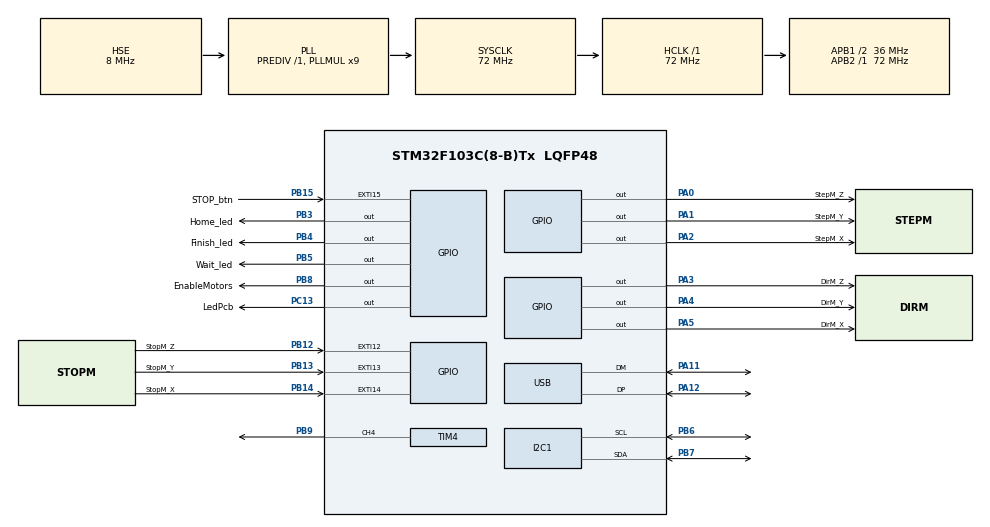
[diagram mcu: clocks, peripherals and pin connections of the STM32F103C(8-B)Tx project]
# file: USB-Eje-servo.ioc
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Mcu.Family=STM32F1
Mcu.Name=STM32F103C(8-B)Tx
Mcu.Package=LQFP48
NVIC.EXTI15_10_IRQn=true\:0\:0\:false\:false\:true\:true\:true\:true
NVIC.PriorityGroup=NVIC_PRIORITYGROUP_4
NVIC.TIM2_IRQn=true\:0\:0\:false\:false\:true\:true\:true\:true
NVIC.TIM3_IRQn=true\:0\:0\:false\:false\:true\:true\:true\:true
NVIC.USB_LP_CAN1_RX0_IRQn=true\:0\:0\:false\:false\:true\:false\:true\:true
PA0-WKUP.GPIO_Label=StepM_Z
PA0-WKUP.Signal=GPIO_Output
PA1.GPIO_Label=StepM_Y
PA1.Signal=GPIO_Output
PA11.Mode=Device
PA11.Signal=USB_DM
PA12.Mode=Device
PA12.Signal=USB_DP
PA13.Mode=Serial_Wire
PA13.Signal=SYS_JTMS-SWDIO
PA14.Mode=Serial_Wire
PA14.Signal=SYS_JTCK-SWCLK
PA2.GPIO_Label=StepM_X
PA2.Signal=GPIO_Output
PA3.GPIO_Label=DirM_Z
PA3.Signal=GPIO_Output
PA4.GPIO_Label=DirM_Y
PA4.Signal=GPIO_Output
PA5.GPIO_Label=DirM_X
PA5.Signal=GPIO_Output
PB12.GPIO_Label=StopM_Z
PB12.Signal=GPXTI12
PB13.GPIO_Label=StopM_Y
PB13.Signal=GPXTI13
PB14.GPIO_Label=StopM_X
PB14.Signal=GPXTI14
PB15.GPIO_Label=STOP_btn
PB15.Signal=GPXTI15
PB3.GPIO_Label=Home_led
PB3.Signal=GPIO_Output
PB4.GPIO_Label=Finish_led
PB4.Signal=GPIO_Output
PB5.GPIO_Label=Wait_led
PB5.Signal=GPIO_Output
PB6.Mode=I2C
PB6.Signal=I2C1_SCL
PB7.Mode=I2C
PB7.Signal=I2C1_SDA
PB8.GPIO_Label=EnableMotors
PB8.Signal=GPIO_Output
PB9.Signal=S_TIM4_CH4
PC13-TAMPER-RTC.GPIO_Label=LedPcb
PC13-TAMPER-RTC.Signal=GPIO_Output
PC14-OSC32_IN.Mode=LSE-External-Oscillator
PC14-OSC32_IN.Signal=RCC_OSC32_IN
PC15-OSC32_OUT.Mode=LSE-External-Oscillator
PC15-OSC32_OUT.Signal=RCC_OSC32_OUT
PD0-OSC_IN.Mode=HSE-External-Oscillator
PD0-OSC_IN.Signal=RCC_OSC_IN
PD1-OSC_OUT.Mode=HSE-External-Oscillator
PD1-OSC_OUT.Signal=RCC_OSC_OUT
ProjectManager.HeapSize=0x200
ProjectManager.StackSize=0x400
ProjectManager.TargetToolchain=STM32CubeIDE
RCC.AHBFreq_Value=72000000
RCC.APB1CLKDivider=RCC_HCLK_DIV2
RCC.APB1Freq_Value=36000000
RCC.APB1TimFreq_Value=72000000
RCC.APB2Freq_Value=72000000
RCC.APB2TimFreq_Value=72000000
RCC.HCLKFreq_Value=72000000
RCC.PLLMUL=RCC_PLL_MUL9
RCC.SYSCLKFreq_VALUE=72000000
RCC.SYSCLKSource=RCC_SYSCLKSOURCE_PLLCLK
RCC.USBFreq_Value=48000000
RCC.USBPrescaler=RCC_USBCLKSOURCE_PLL_DIV1_5
SH.S_TIM4_CH4.0=TIM4_CH4,PWM Generation4 CH4
TIM2.Period=1000
TIM2.Prescaler=71
TIM3.Period=9999
TIM3.Prescaler=7199
TIM4.Channel-PWM\ Generation4\ CH4=TIM_CHANNEL_4
TIM4.Period=19999
TIM4.Prescaler=71
USB_DEVICE.CLASS_NAME_FS=CDC
USB_DEVICE.PRODUCT_STRING_CDC_FS=STM32 Virtual Port
USB_DEVICE.VirtualMode=Cdc
USB_DEVICE.VirtualModeFS=Cdc_FS
VP_TIM2_VS_ClockSourceINT.Mode=Internal
VP_TIM3_VS_ClockSourceINT.Mode=Internal
VP_TIM4_VS_ClockSourceINT.Mode=Internal
VP_USB_DEVICE_VS_USB_DEVICE_CDC_FS.Mode=CDC_FS
board=custom

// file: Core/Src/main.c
/* USER CODE BEGIN Header */
/**
  ******************************************************************************
  * @file           : main.c
  * @brief          : Main program body
  ******************************************************************************
  * @attention
  *
  * Copyright (c) 2023 STMicroelectronics.
  * All rights reserved.
  *
  * This software is licensed under terms that can be found in the LICENSE file
  * in the root directory of this software component.
  * If no LICENSE file comes with this software, it is provided AS-IS.
  *
  ******************************************************************************
  */
/* USER CODE END Header */
#include "main.h"
#include "i2c.h"
#include "tim.h"
#include "usb_device.h"
#include "gpio.h"

/* USER CODE BEGIN PTD */

// Motor's Struct
typedef struct {
    GPIO_TypeDef *stepPort;     // Puerto GPIO para el pin de paso (step)
    uint16_t stepPin;           // Número del pin de paso (step)
    GPIO_TypeDef *dirPort;      // Puerto GPIO para el pin de dirección (dir)
    uint16_t dirPin;            // Número del pin de dirección (dir)
    int direction;              // Dirección de movimiento (0 para positivo, 1 para negativo)
    int velocity;               // Velocidad del motor
    int microStepping;          // Configuración de microstepping
    int currentPosition;        // Posición actual del motor
    int newPosition;        	// Nueva posición del motor
    int stepCounter;            // Contador de pasos para controlar el intervalo
    int stepInterval;           // Intervalo entre pasos para controlar la velocidad
    int stopFlag;               // Bandera para detener el movimiento (0 para habilitar, 1 para detener)
} StepperMotor;

/* USER CODE END PTD */

/* USER CODE BEGIN PV */

extern USBD_HandleTypeDef hUsbDeviceFS;
//	Cantidad de grados de libertad sin deflector final
StepperMotor motors[NUM_MOTORS];

//	Estado del deflector final
uint8_t estadoGarra = 0;

//	Vel Motors
uint16_t velMotor_X = 0;
uint16_t velMotor_Y = 0;
uint16_t velMotor_Z = 0;

//	Dir Motors
uint8_t DirM_X = 0;
uint8_t DirM_Y = 0;
uint8_t DirM_Z = 0;

// PROBAR DE CAMBIAR LOS PUNTEROS POR VALORES
//	FLAGS STOP GLOBALES
uint8_t flagStopM_X = 0;
uint8_t flagStopM_Y = 0;
uint8_t flagStopM_Z = 0;

//	FLAGS OPTICAL LIMIT SWITCH SENSOR PER AXIS GLOBALES
uint8_t opticalLimitSwitchSensor_X = 0;
uint8_t opticalLimitSwitchSensor_Y = 0;
uint8_t opticalLimitSwitchSensor_Z = 0;

///// Factor de microStepping
uint8_t microSteppingM_X = 1;
uint8_t microSteppingM_Y = 1;
uint8_t microSteppingM_Z = 1;

///// Flags de Homing
uint8_t homeMotor_X = 0;
uint8_t homeMotor_Y = 0;
uint8_t homeMotor_Z = 0;
int countHome = 0;
int homeStatus = 0;

//	Cotador de segundos para el homming
uint8_t contSeconds = 0;

// Data to transmit CDC
char * data = "Hello World!";
uint8_t flagUsb = 0;
char buffer_rx[40];
char buffer_tx[40];
char buffer_data[4][6];
/*Buffer data
 * actualizar valores
 * [0] : valores generales
 * [1] : valor de Q1
 * [2] : valor de Q2
 * [3] : valor de Q3
 */

//	LCD consts
uint8_t contador = 0;
char buf_lcd[18];

/* USER CODE END PV */

void SystemClock_Config(void);
/* USER CODE BEGIN PFP */

int HomingMotors(uint8_t* hmX, uint8_t* hmY, uint8_t* hmZ);		// Función para realizar el Homming del robot
//	Recive cómo parametros los puntores a memoria de los distintos grados de libertad
void ActivatedAll (int habilitar);								// Función para activar todos los motores
float deg2rad(float degrees);		//	Función para pasar de grados a radianes

//extern CircularBuffer<uint8_t> usbBuffer;
//extern USBD_HandleTypeDef hUsbDeviceFS;
void CDC_FS_Substring(uint8_t inicioCadena, uint8_t finCadena, char* str, char* dst);

// Función para configurar el intervalo de paso en función de la velocidad del motor
void moveMotors(StepperMotor *motor, int * newPosition, int * velocity);
int targetComplete(StepperMotor *motor);

//	Función para mover el servo
void Servo_Write_angle(uint16_t theta);

// Funciones para los 3 modos de operacion
uint8_t modoCalibracion();
uint8_t modoAprendizaje();
uint8_t modoEjecucion();
void consignas();

/* USER CODE END PFP */

int main(void)
{

  /* MCU Configuration--------------------------------------------------------*/

  /* Reset of all peripherals, Initializes the Flash interface and the Systick. */
  HAL_Init();

  /* Configure the system clock */
  SystemClock_Config();

  /* Initialize all configured peripherals */
  MX_GPIO_Init();
  MX_TIM2_Init();
  MX_USB_DEVICE_Init();
  MX_TIM4_Init();
  MX_TIM3_Init();
  MX_I2C1_Init();
  /* USER CODE BEGIN 2 */

  // Apartado para inicializar el LCD
  Lcd_Init();

  ///// Seteo los leds de estado
  HAL_GPIO_WritePin(Wait_led_GPIO_Port, Wait_led_Pin, RESET);
  HAL_GPIO_WritePin(Finish_led_GPIO_Port, Finish_led_Pin, RESET);
  HAL_GPIO_WritePin(Home_led_GPIO_Port, Home_led_Pin, RESET);

  ///// Configurar el bus Enable
  HAL_GPIO_WritePin(EnableMotors_GPIO_Port, EnableMotors_Pin, SET);

  // Inicialización de cada motor
  motors[0] = (StepperMotor){
	  StepM_X_GPIO_Port, StepM_X_Pin,
	  DirM_X_GPIO_Port, DirM_X_Pin, DirM_X,
	  velMotor_X,
	  microSteppingM_X,
	  0, 0, 0, 0,
	  flagStopM_X
  };
  motors[1] = (StepperMotor){
	  StepM_Y_GPIO_Port, StepM_Y_Pin,
	  DirM_Y_GPIO_Port, DirM_Y_Pin, DirM_Y,
	  velMotor_Y,
	  microSteppingM_Y,
	  0, 0, 0, 0,
	  flagStopM_Y
  };
  motors[2] = (StepperMotor){
	  StepM_Z_GPIO_Port, StepM_Z_Pin,
	  DirM_Z_GPIO_Port, DirM_Z_Pin, DirM_Z,
	  velMotor_Z,
	  microSteppingM_Z,
	  0, 0, 0, 0,
	  flagStopM_Z
  };

  HAL_TIM_Base_Start_IT(&htim2);			// Iniciar el temporizador con interrupción
  HAL_TIM_PWM_Start(&htim4, TIM_CHANNEL_4);
  HAL_TIM_Base_Start_IT(&htim4);			// Iniciar el temporizador con interrupción
  HAL_TIM_Base_Start_IT(&htim3);

  // Envio datos al puerto USB
  CDC_Transmit_FS((uint8_t *) data, strlen (data));

  // Ejemplo de impresión en el LCD
  Lcd_Clear();
  Lcd_Set_Cursor(1,1);
  Lcd_Send_String("La Gaaarra!");
  Lcd_Set_Cursor(2,1);
  Lcd_Send_String("By: Mario uwu");
  Lcd_Set_Cursor(2,14);
  Lcd_Blink();
  HAL_Delay(2000);
  /* USER CODE END 2 */

  /* Infinite loop */
  /* USER CODE BEGIN WHILE */
  while (1)
  {
	  if(flagUsb == 1){
		  HAL_GPIO_TogglePin(LedPcb_GPIO_Port, LedPcb_Pin);
		  //CDC_FS_Substring(1, 1, buffer_rx, buffer_data[0]);
		  //	:- Caso Homming
		  if (buffer_rx[0] == ':'){
			  switch (buffer_rx[1]){
			  	  case '-':
			  		  // Modo calibración
					  sprintf(buffer_tx, "Se ingresó al modo de Calibración\r\n");
					  CDC_Transmit_FS((uint8_t*)buffer_tx, strlen(buffer_tx));
					  if (modoCalibracion() == 0){
						  // No hubo problemas
					  } else {
						  // Existió problemas al ejecutar modoCalibracion
					  }
			  		  break;
			  	  case '+':
			  		  // Modo de aprendizaje
					  sprintf(buffer_tx, "Se ingresó al modo de Aprendizaje\r\n");
					  CDC_Transmit_FS((uint8_t*)buffer_tx, strlen(buffer_tx));
					  if (modoAprendizaje() == 0){
						  // No hubo problemas
					  } else {
						  // Existió problemas al ejecutar modoAprendizaje
					  }
			  		  break;
			  	  case '#':
			  		  // Modo de ejecución manual
					  sprintf(buffer_tx, "Se ingresó al modo de Ejecución\r\n");
					  CDC_Transmit_FS((uint8_t*)buffer_tx, strlen(buffer_tx));
					  if (modoEjecucion() == 0){
						  // No hubo problemas
					  } else {
						  // Existió problemas al ejecutar modoEjecucion
					  }
			  		  break;
			  	  case '?':
			  		  // Modo de ejecución manual
					  sprintf(buffer_tx, "Se mostrará la ayuda de las consignas del robot.\r\n");
					  CDC_Transmit_FS((uint8_t*)buffer_tx, strlen(buffer_tx));
					  consignas();
			  		  break;
			  	  default:
			  		  // Mostrar mensajes de error
			  		  //	trama no reconocida
					  sprintf(buffer_tx, "No existe el modo solicitado\r\n");
					  CDC_Transmit_FS((uint8_t*)buffer_tx, strlen(buffer_tx));
			  		  break;
			  }
		  } else if (buffer_rx[0] == '?'){
	  		  // Modo de ejecución manual
			  sprintf(buffer_tx, "Se mostrará la ayuda de las consignas del robot.\r\n");
			  CDC_Transmit_FS((uint8_t*)buffer_tx, strlen(buffer_tx));
			  consignas();
		  } else {
			  // Error en trama, trama no reconocida
			  sprintf(buffer_tx, "Trama ingresada erronea!\r\n");
			  CDC_Transmit_FS((uint8_t*)buffer_tx, strlen(buffer_tx));
		  }
		  flagUsb = 0;	// bajo la bandera de comunicación por USB

	  }
	  // Sin bandera de usb detectada
	  else {
		  if (countHome == 0){
			  Lcd_Set_Cursor(1,1);
			  Lcd_Send_String("Estado Global");
			  Lcd_Set_Cursor(2,1);
			  Lcd_Send_String("X???|Y???|Z???|?");
			  sprintf(buffer_tx, "Estado no definido\r\n");
			  CDC_Transmit_FS((uint8_t*)buffer_tx, strlen(buffer_tx));

			  HAL_GPIO_WritePin(Wait_led_GPIO_Port, Wait_led_Pin, RESET);
			  HAL_GPIO_WritePin(Finish_led_GPIO_Port, Finish_led_Pin, RESET);
			  HAL_Delay(325);
			  HAL_GPIO_TogglePin(Home_led_GPIO_Port, Home_led_Pin);
			  HAL_Delay(325);
			  HAL_GPIO_TogglePin(Home_led_GPIO_Port, Home_led_Pin);
		  }
		  //	Caso de que el Home se haya realizado
		  else {
			  sprintf(buffer_tx, "Estado definido\r\n");
			  //	MOVER MOTORES
			  for (int k = 0; k < NUM_MOTORS; ++k) {
				  moveMotors(&motors[k], &motors[k].newPosition, &motors[k].velocity);
			  }
			  CDC_Transmit_FS((uint8_t*)buffer_tx, strlen(buffer_tx));
			  //	Actualizar LCD con datos
			  char posicionMotores[16];
			  char charGarra = '?';
			  if (estadoGarra == 0){
				  charGarra = 'C';
			  } else if (estadoGarra == 1){
				  charGarra = 'A';
			  }
			  char* position[3][4];
			  for (int i = 0; i < NUM_MOTORS; ++i) {
				  for (int j = 0; j < NUM_MOTORS; ++j) {
					  position[i][j] = '\0';
				  }
			  }
			  for (int j = 0; j < NUM_MOTORS; ++j) {
				  if (motors[j].currentPosition < 10){
					  //Agrego dos 0
					  sprintf(*position[j], "00%u", motors[j].currentPosition);
				  } else if (motors[j].currentPosition < 100){
					  //Agrego 1 cero
					  sprintf(*position[j], "0%u", motors[j].currentPosition);
				  } else {
					  //No agrego 0
					  sprintf(*position[j], "%u", motors[j].currentPosition);
				  }
			  }
			  sprintf(posicionMotores, "X%s|Y%s|Z%s|%c", position[0], position[1], position[2], charGarra);
			  Lcd_Set_Cursor(2, 1);
			  Lcd_Send_String(posicionMotores);
			  HAL_Delay(750);
			  //	Dejo visualizador de que la tarea ha terminado
			  HAL_GPIO_WritePin(Finish_led_GPIO_Port, Finish_led_Pin, SET);
		  }

		  //	Avisar por medio del led del HOME de que ha ocurrido un error en alguno de los ejes
		  if (homeStatus < 0 ){
			  HAL_Delay(325);
			  HAL_GPIO_TogglePin(Home_led_GPIO_Port, Home_led_Pin);
			  HAL_Delay(325);
			  HAL_GPIO_TogglePin(Home_led_GPIO_Port, Home_led_Pin);
		  }
	  }

    /* USER CODE END WHILE */

  }
}

void SystemClock_Config(void)
{
  RCC_OscInitTypeDef RCC_OscInitStruct = {0};
  RCC_ClkInitTypeDef RCC_ClkInitStruct = {0};
  RCC_PeriphCLKInitTypeDef PeriphClkInit = {0};

  /** Initializes the RCC Oscillators according to the specified parameters
  * in the RCC_OscInitTypeDef structure.
  */
  RCC_OscInitStruct.OscillatorType = RCC_OSCILLATORTYPE_HSE;
  RCC_OscInitStruct.HSEState = RCC_HSE_ON;
  RCC_OscInitStruct.HSEPredivValue = RCC_HSE_PREDIV_DIV1;
  RCC_OscInitStruct.HSIState = RCC_HSI_ON;
  RCC_OscInitStruct.PLL.PLLState = RCC_PLL_ON;
  RCC_OscInitStruct.PLL.PLLSource = RCC_PLLSOURCE_HSE;
  RCC_OscInitStruct.PLL.PLLMUL = RCC_PLL_MUL9;
  if (HAL_RCC_OscConfig(&RCC_OscInitStruct) != HAL_OK)
  {
    Error_Handler();
  }

  /** Initializes the CPU, AHB and APB buses clocks
  */
  RCC_ClkInitStruct.ClockType = RCC_CLOCKTYPE_HCLK|RCC_CLOCKTYPE_SYSCLK
                              |RCC_CLOCKTYPE_PCLK1|RCC_CLOCKTYPE_PCLK2;
  RCC_ClkInitStruct.SYSCLKSource = RCC_SYSCLKSOURCE_PLLCLK;
  RCC_ClkInitStruct.AHBCLKDivider = RCC_SYSCLK_DIV1;
  RCC_ClkInitStruct.APB1CLKDivider = RCC_HCLK_DIV2;
  RCC_ClkInitStruct.APB2CLKDivider = RCC_HCLK_DIV1;

  if (HAL_RCC_ClockConfig(&RCC_ClkInitStruct, FLASH_LATENCY_2) != HAL_OK)
  {
    Error_Handler();
  }
  PeriphClkInit.PeriphClockSelection = RCC_PERIPHCLK_USB;
  PeriphClkInit.UsbClockSelection = RCC_USBCLKSOURCE_PLL_DIV1_5;
  if (HAL_RCCEx_PeriphCLKConfig(&PeriphClkInit) != HAL_OK)
  {
    Error_Handler();
  }
}

/* USER CODE BEGIN 4 */

// esto son 40 # y 40 .
// ###########################################################
// ........................................................
void consignas(){
	//	FUNCIÓN TIPO MENÚ PARA VISUALIZAR LAS DISTINTAS CONSIGNAS
	sprintf(buffer_tx, "Existen 3 modos de comportamiento para el robot\r\n");
	CDC_Transmit_FS((uint8_t*)buffer_tx, strlen(buffer_tx));
	sprintf(buffer_tx, "CALIBRACIÓN (-), APRENDIZAJE (+) y EJECUCIÓN (#)\r\n");
	CDC_Transmit_FS((uint8_t*)buffer_tx, strlen(buffer_tx));

}

uint8_t modoCalibracion(){
	  //	CASO DE HOMMING
	  if (buffer_rx[0] == 'H'){
		  HAL_GPIO_WritePin(Wait_led_GPIO_Port, Wait_led_Pin, SET);
		  HAL_GPIO_WritePin(Finish_led_GPIO_Port, Finish_led_Pin, RESET);
		  Lcd_Clear();
		  Lcd_Set_Cursor(1,1);
		  Lcd_Send_String("Start Homming");
		  Lcd_Set_Cursor(2,1);
		  Lcd_Send_String("Calibration mode");
		  HAL_Delay(150);
		  Servo_Write_angle(0);
		  estadoGarra = 0;
		  homeStatus = HomingMotors(&homeMotor_X, &homeMotor_Y, &homeMotor_Z);
		  if (homeStatus == 0){
			  // notifico al ordenador de los resultados del proceso
			  sprintf(buffer_tx, "Home Status: %u\nHome exitoso!\r\n", homeStatus);
			  CDC_Transmit_FS((uint8_t*)buffer_tx, strlen(buffer_tx));
			  Lcd_Clear();
			  Lcd_Set_Cursor(1,1);
			  Lcd_Send_String("Home Status: OK");
			  Lcd_Set_Cursor(2,1);
			  Lcd_Send_String("X000|Y000|Z000|C");
			  HAL_Delay(150);
			  HAL_GPIO_WritePin(Home_led_GPIO_Port, Home_led_Pin, SET);
		  } else if (homeStatus == -1){
			  // notifico al ordenador de los resultados del proceso
			  sprintf(buffer_tx, "Home Status: %u\nFalla Home X!\r\n", homeStatus);
			  CDC_Transmit_FS((uint8_t*)buffer_tx, strlen(buffer_tx));
			  Lcd_Clear();
			  Lcd_Set_Cursor(1,1);
			  Lcd_Send_String("Home Error: ejeX");
			  Lcd_Set_Cursor(2,1);
			  Lcd_Send_String("X???|Y000|Z000|C");
			  HAL_Delay(150);
		  } else if (homeStatus == -2){
			  // notifico al ordenador de los resultados del proceso
			  sprintf(buffer_tx, "Home Status: %u\nFalla Home Y!\r\n", homeStatus);
			  CDC_Transmit_FS((uint8_t*)buffer_tx, strlen(buffer_tx));
			  Lcd_Clear();
			  Lcd_Set_Cursor(1,1);
			  Lcd_Send_String("Home Error: ejeX");
			  Lcd_Set_Cursor(2,1);
			  Lcd_Send_String("X000|Y???|Z000|C");
			  HAL_Delay(150);
		  } else if (homeStatus == -3){
			  // notifico al ordenador de los resultados del proceso
			  sprintf(buffer_tx, "Home Status: %u\nFalla Home Z!\r\n", homeStatus);
			  CDC_Transmit_FS((uint8_t*)buffer_tx, strlen(buffer_tx));
			  Lcd_Clear();
			  Lcd_Set_Cursor(1,1);
			  Lcd_Send_String("Home Error: ejeX");
			  Lcd_Set_Cursor(2,1);
			  Lcd_Send_String("X000|Y000|Z???|C");
			  HAL_Delay(150);
		  } else if (homeStatus == 1){
			  // notifico al ordenador de los resultados del proceso
			  sprintf(buffer_tx, "Home Status: %u\nFalla en funcHome!\r\n", homeStatus);
			  CDC_Transmit_FS((uint8_t*)buffer_tx, strlen(buffer_tx));
			  Lcd_Clear();
			  Lcd_Set_Cursor(1,1);
			  Lcd_Send_String("ERROR Home: all!");
			  Lcd_Set_Cursor(2,1);
			  Lcd_Send_String("X???|Y???|Z???|?");
			  HAL_Delay(750);
		  }
		  HAL_Delay(1500);
		  return 0;
	  }
	  //	CASO DE SETEO PARA VELOCIDADES GLOBALES
	  //	Ejemplo de consigna :-V058  -> setear velocidades globales a 58%
	  else if (buffer_rx[2] == 'V'){
		  HAL_GPIO_WritePin(Wait_led_GPIO_Port, Wait_led_Pin, SET);
		  HAL_GPIO_WritePin(Finish_led_GPIO_Port, Finish_led_Pin, RESET);
		  CDC_FS_Substring(3, 5, buffer_rx, buffer_data[0]);
		  uint8_t velocidad = (uint8_t)atoi(buffer_data[0]);
		  if (velocidad < 100){
			  for (int i = 0; i < NUM_MOTORS; ++i) {
				  motors[i].velocity = velocidad;
			  }
			  Lcd_Set_Cursor(1,1);
	//			  char v[4];
	//			  sprintf(v, "%u", (uint8_t)atoi(buffer_data[2]));
	// 			  Lcd_Send_String("Velocidades: %u", (uint8_t)atoi(buffer_data[2]));
			  // notifico al ordenador de los resultados del proceso
			  sprintf(buffer_tx, "Velocidad globales seteadas.\r\n");
			  CDC_Transmit_FS((uint8_t*)buffer_tx, strlen(buffer_tx));
			  HAL_Delay(150);
			  return 0;
		  } else {
			  // notifico al ordenador de los resultados del proceso
			  sprintf(buffer_tx, "La velocidad debe de ser entre 0 y 100.\r\n");
			  CDC_Transmit_FS((uint8_t*)buffer_tx, strlen(buffer_tx));
			  Lcd_Set_Cursor(1,1);
			  Lcd_Send_String("ERROR Vel global");
			  HAL_Delay(750);
			  return 1;
		  }
	  }
	  //	CASO DE SETEO PARA VELOCIDADES POR EJES
	  //	Ejemplo de consigna :-vX023Y100Z078 -> setea las velociades Q1 23%, Q2 100% y Q3 78%
	  else if (buffer_rx[2] == 'v'){
		  if (buffer_rx[3] == 'X' && buffer_rx[7] == 'Y' && buffer_rx[11] == 'Z'){
			  HAL_GPIO_WritePin(Wait_led_GPIO_Port, Wait_led_Pin, SET);
			  HAL_GPIO_WritePin(Finish_led_GPIO_Port, Finish_led_Pin, RESET);
			  // divido la data por cada gdl
			  CDC_FS_Substring(4, 6, buffer_rx, buffer_data[1]);
			  CDC_FS_Substring(8, 10, buffer_rx, buffer_data[2]);
			  CDC_FS_Substring(12, 14, buffer_rx, buffer_data[3]);
			  // cargo las velocidades en cada eje
			  for (int i = 0; i < NUM_MOTORS; ++i) {
				  motors[i].velocity = (uint8_t)atoi(buffer_data[i+1]);
			  }
		  } else {
			  // en caso de no contener X Y Z tirar error
			  // notifico al ordenador de los resultados del proceso
			  sprintf(buffer_tx, "Error en setear velocidades individuales.\r\n");
			  CDC_Transmit_FS((uint8_t*)buffer_tx, strlen(buffer_tx));
			  Lcd_Set_Cursor(1,1);
			  Lcd_Send_String("ERROR Vel format");
			  HAL_Delay(750);
		  }
		  return 0;
	  }
	  //	CASO DE HABILITACION DE MOTORES
	  //	Ejemplo de consigna :-E1  -> activar todos los motores  :-E0  -> Desactivar todos los motores
	  else if (buffer_rx[2] == 'E'){
		  HAL_GPIO_WritePin(Wait_led_GPIO_Port, Wait_led_Pin, SET);
		  HAL_GPIO_WritePin(Finish_led_GPIO_Port, Finish_led_Pin, RESET);
		  CDC_FS_Substring(3, 3, buffer_rx, buffer_data[0]);
		  if ((uint8_t)atoi(buffer_data[0]) == 1){
			  ActivatedAll((uint8_t)atoi(buffer_data[0]));
			  // notifico al ordenador de los resultados del proceso
			  sprintf(buffer_tx, "Se habilitaron los Motores.\r\n");
			  CDC_Transmit_FS((uint8_t*)buffer_tx, strlen(buffer_tx));
			  Lcd_Set_Cursor(1, 1);
			  Lcd_Send_String("Motores Enables!");
			  HAL_Delay(150);
		  } else if ((uint8_t)atoi(buffer_data[0]) == 0){
			  ActivatedAll((uint8_t)atoi(buffer_data[0]));
			  // notifico al ordenador de los resultados del proceso
			  sprintf(buffer_tx, "Se deshabilitaron los Motores.\r\n");
			  CDC_Transmit_FS((uint8_t*)buffer_tx, strlen(buffer_tx));
			  Lcd_Set_Cursor(1, 1);
			  Lcd_Send_String("Motores Disables");
			  HAL_Delay(150);
		  } else {
			  // notifico al ordenador de los resultados del proceso
			  sprintf(buffer_tx, "Error, ON/OFF motores! \r\n");
			  CDC_Transmit_FS((uint8_t*)buffer_tx, strlen(buffer_tx));
			  Lcd_Set_Cursor(1, 1);
			  Lcd_Send_String("<E ? Motores>");
			  HAL_Delay(150);
		  }
		  return 0;
	  }
	  //	CASO DE HABILITACION DE MOTORES
	  //	Ejemplo de consigna :-S  -> Parada de emergencia
	  else if (buffer_rx[2] == 'S'){
		  HAL_GPIO_WritePin(Wait_led_GPIO_Port, Wait_led_Pin, SET);
		  HAL_GPIO_WritePin(Finish_led_GPIO_Port, Finish_led_Pin, RESET);
		  // Desactivar todos los motores
		  ActivatedAll(-1);
		  // notifico al ordenador de los resultados del proceso
		  sprintf(buffer_tx, "Se han detenido los Motores.\r\n");
		  CDC_Transmit_FS((uint8_t*)buffer_tx, strlen(buffer_tx));
		  Lcd_Set_Cursor(1, 1);
		  Lcd_Send_String("Motores Detenidos!");
		  HAL_Delay(150);
		  return 0;
	  }
	  //	CASO DE CÓDIGO ERRONEO EN MODO DE CALIBRACIÓN
	  //	Ejemplo de consigna :-
	  else {
		  // notifico al ordenador de los resultados del proceso
		  sprintf(buffer_tx, "Consigna erronea de calibración.\r\n");
		  CDC_Transmit_FS((uint8_t*)buffer_tx, strlen(buffer_tx));
		  return 1;
	  }
}

uint8_t modoAprendizaje(){
	  //	CASO DE SETEO DE POSICIONES
	  if (buffer_data[0][0] == 'D'){
		  HAL_GPIO_WritePin(Wait_led_GPIO_Port, Wait_led_Pin, SET);
		  HAL_GPIO_WritePin(Finish_led_GPIO_Port, Finish_led_Pin, RESET);
		  char posiciones[3][5];
		  CDC_FS_Substring(2, 4, buffer_rx, posiciones[0]);
		  CDC_FS_Substring(6, 8, buffer_rx, posiciones[1]);
		  CDC_FS_Substring(9, 11, buffer_rx, posiciones[2]);
		  for (int i = 0; i < NUM_MOTORS; ++i) {
			  motors[i].newPosition = (uint8_t)atoi(buffer_data[i]);
		  }
	  }
	  //	CASO DE CONTROL DEL GRIPPE
	  else if (buffer_data[0][0] == 'P'){
		  HAL_GPIO_WritePin(Wait_led_GPIO_Port, Wait_led_Pin, SET);
		  HAL_GPIO_WritePin(Finish_led_GPIO_Port, Finish_led_Pin, RESET);
		  CDC_FS_Substring(2, 4, buffer_rx, buffer_data[2]);
		  if (((uint8_t)atoi(buffer_data[2]) < 90) && ((uint8_t)atoi(buffer_data[2]) > 0)){
			  Servo_Write_angle((uint8_t)atoi(buffer_data[2]));
			  estadoGarra = 0;
			  sprintf(buffer_tx, "La Garra ha sido cerrada.\r\n");
			  CDC_Transmit_FS((uint8_t*)buffer_tx, strlen(buffer_tx));
			  Lcd_Set_Cursor(2, 16);
			  Lcd_Send_Char('C');
			  HAL_Delay(150);
		  } else if (((uint8_t)atoi(buffer_data[2]) >= 90)&& ((uint8_t)atoi(buffer_data[2]) > 0)){
			  Servo_Write_angle((uint8_t)atoi(buffer_data[2]));
			  estadoGarra = 1;
			  sprintf(buffer_tx, "La Garra ha sido abierta.\r\n");
			  CDC_Transmit_FS((uint8_t*)buffer_tx, strlen(buffer_tx));
			  Lcd_Set_Cursor(2, 16);
			  Lcd_Send_Char('A');
			  HAL_Delay(150);
		  } else {
			  sprintf(buffer_tx, "Error, valor invalido Gripper! \r\n");
			  CDC_Transmit_FS((uint8_t*)buffer_tx, strlen(buffer_tx));
			  Lcd_Set_Cursor(2, 16);
			  Lcd_Send_Char('?');
			  HAL_Delay(150);
		  }
	  }
	  return 1;
}
uint8_t modoEjecucion(){

	  //	CASO DE SETEO DE POSICIONES
	  if (buffer_data[0][0] == 'D'){
		  HAL_GPIO_WritePin(Wait_led_GPIO_Port, Wait_led_Pin, SET);
		  HAL_GPIO_WritePin(Finish_led_GPIO_Port, Finish_led_Pin, RESET);
		  char posiciones[3][5];
		  CDC_FS_Substring(2, 4, buffer_rx, posiciones[0]);
		  CDC_FS_Substring(6, 8, buffer_rx, posiciones[1]);
		  CDC_FS_Substring(9, 11, buffer_rx, posiciones[2]);
		  for (int i = 0; i < NUM_MOTORS; ++i) {
			  motors[i].newPosition = (uint8_t)atoi(buffer_data[i]);
		  }
	  }
	  //	CASO DE CONTROL DEL GRIPPE
	  else if (buffer_data[0][0] == 'P'){
		  HAL_GPIO_WritePin(Wait_led_GPIO_Port, Wait_led_Pin, SET);
		  HAL_GPIO_WritePin(Finish_led_GPIO_Port, Finish_led_Pin, RESET);
		  CDC_FS_Substring(2, 4, buffer_rx, buffer_data[2]);
		  if (((uint8_t)atoi(buffer_data[2]) < 90) && ((uint8_t)atoi(buffer_data[2]) > 0)){
			  Servo_Write_angle((uint8_t)atoi(buffer_data[2]));
			  estadoGarra = 0;
			  sprintf(buffer_tx, "La Garra ha sido cerrada.\r\n");
			  CDC_Transmit_FS((uint8_t*)buffer_tx, strlen(buffer_tx));
			  Lcd_Set_Cursor(2, 16);
			  Lcd_Send_Char('C');
			  HAL_Delay(150);
		  } else if (((uint8_t)atoi(buffer_data[2]) >= 90)&& ((uint8_t)atoi(buffer_data[2]) > 0)){
			  Servo_Write_angle((uint8_t)atoi(buffer_data[2]));
			  estadoGarra = 1;
			  sprintf(buffer_tx, "La Garra ha sido abierta.\r\n");
			  CDC_Transmit_FS((uint8_t*)buffer_tx, strlen(buffer_tx));
			  Lcd_Set_Cursor(2, 16);
			  Lcd_Send_Char('A');
			  HAL_Delay(150);
		  } else {
			  sprintf(buffer_tx, "Error, valor invalido Gripper! \r\n");
			  CDC_Transmit_FS((uint8_t*)buffer_tx, strlen(buffer_tx));
			  Lcd_Set_Cursor(2, 16);
			  Lcd_Send_Char('?');
			  HAL_Delay(150);
		  }
	  }
	  return 1;
}

int HomingMotors(uint8_t* hmX, uint8_t* hmY, uint8_t* hmZ) {
	ActivatedAll(1);
    // Activar todos los motores y configurar velocidades
    for (int i = 0; i < NUM_MOTORS; i++) {
		motors[i].stepInterval = TIMER_FREQUENCY / (50 * motors[i].microStepping);
        motors[i].stopFlag = 1;   // Deshabilitar el movimiento
    }

    // Verificar el home de cada motor
    motors[0].stopFlag = 0;
    motors[1].stopFlag = 1;
    motors[2].stopFlag = 1;
	contSeconds = 0;
    HAL_TIM_Base_Start_IT(&htim3);
    while ((*hmX == 0 )&&(contSeconds < 3)){
        *hmX = motors[0].stopFlag;
    }
	motors[0].stopFlag = 1;
	motors[1].stopFlag = 0;
	motors[2].stopFlag = 1;
	contSeconds = 0;
    while ((*hmY == 0 )&&(contSeconds < 3)){
        *hmY = motors[1].stopFlag;
    }
    motors[0].stopFlag = 1;
    motors[1].stopFlag = 1;
    motors[2].stopFlag = 0;
	contSeconds = 0;
    while ((*hmZ == 0 )&&(contSeconds < 3)){
        *hmZ = motors[2].stopFlag;
    }
    HAL_TIM_Base_Stop_IT(&htim3);
	contSeconds = 0;
    for (int i = 0; i < NUM_MOTORS; i++) {
        motors[i].velocity = 0; // Detener el motor
        motors[i].stepInterval = 0; // Detener el motor
        motors[i].currentPosition = 0; // Reiniciar la posición actual
        motors[i].stopFlag = 0;   // Habilitar el movimiento
    }
    if ((*hmX == 1 )&&(*hmY == 1 )&&(*hmZ == 1 )){// Apagar todos los motores y reiniciar posiciones
        countHome++;
        return 0;
    } else if (*hmX == 0 ){
    	return -1;
    } else if (*hmY == 0 ){
    	return -2;
    } else if (*hmZ == 0 ){
    	return -3;
    }
    return 1;
}

int targetComplete(StepperMotor *motor){
	uint8_t target = 0;
	for(int i = 0; i < NUM_MOTORS; i++){
		if (motor[i].currentPosition == motor[i].newPosition){
			target++;
		}
	}
	if (target == 3){
		return 1;
	} else {
		return 0;
	}
}

//	Función para definir comportamiento de los motores
void ActivatedAll (int habilitar){
	//		Pines Enable, Reset y Sleep comporten los mismos bus de datos
	//		para cada uno respectivamente de los distintos motores.
	//		Se recuerda que los pines son erntradas de lógica negada al A4988
	if (habilitar == -1){
	    for (int i = 0; i < NUM_MOTORS; i++) {
	        motors[i].velocity = 0; // Detener el motor
	        motors[i].stepInterval = 0; // Reiniciar la posición actual
	        motors[i].stopFlag = 1;   // Habilitar el movimiento
	    }
	}
	else if (habilitar == 1){
		HAL_GPIO_WritePin(EnableMotors_GPIO_Port, EnableMotors_Pin, RESET);			//	Se habilita el ENABLE
	}
	else if (habilitar == 0){
		HAL_GPIO_WritePin(EnableMotors_GPIO_Port, EnableMotors_Pin, SET);			//	Se Deshabilita el ENABLE
	}
}

//	Función para convertir grados a radianes
float deg2rad(float degrees) {
	return degrees * (M_PI / 180.0);
}

// Función para configurar el intervalo de paso en función de la velocidad del motor
void moveMotors(StepperMotor *motor, int *newPosition, int *velocity) {
	if (velocity != 0){
		motor->velocity = *velocity;
	}
	if (newPosition !=0){
		motor->newPosition = *newPosition;
	}
	if (motor->velocity != 0){
		if (motor->currentPosition < motor->newPosition){
			motor->direction = 0;
			motor->stopFlag = 0;
			motor->stepInterval = TIMER_FREQUENCY / (motor->velocity * motor->microStepping);
		} else if (motor->currentPosition > motor->newPosition){
			motor->direction = 1;
			motor->stopFlag = 0;
			motor->stepInterval = TIMER_FREQUENCY / (motor->velocity * motor->microStepping);
		}
	} else {
		motor->stepInterval = 0;
		motor->stopFlag = 1;
	}
}

// Función de retrollamada (callback) para la interrupción externa EXTI3
void HAL_GPIO_EXTI_Callback(uint16_t GPIO_Pin)
{
	if (GPIO_Pin == STOP_btn_Pin){
		HAL_GPIO_WritePin(EnableMotors_GPIO_Port, EnableMotors_Pin, SET);			//	Se Deshabilita el ENABLE
	    // Activar todos los motores y configurar velocidades
	    for (int i = 0; i < NUM_MOTORS; i++) {
	        motors[i].stopFlag = 1;   // Deshabilitar el movimiento
	    }
	}
	if (GPIO_Pin == StopM_X_Pin){
		if (flagStopM_X == 1){
			flagStopM_X = 0;
			motors[0].stopFlag = 0;
		} else {
			velMotor_X = 0;
			flagStopM_X = 1;
			motors[0].stopFlag = 1;
		}
		HAL_GPIO_TogglePin(azul_GPIO_Port, azul_Pin);
	}
	else if (GPIO_Pin == StopM_Y_Pin){
		if (flagStopM_Y == 1){
			flagStopM_Y = 0;
			motors[1].stopFlag = 0;
		} else {
			velMotor_Y = 0;
			flagStopM_Y = 1;
			motors[1].stopFlag = 1;
		}
		HAL_GPIO_TogglePin(azul_GPIO_Port, azul_Pin);
	}
	else if (GPIO_Pin == StopM_Z_Pin){
		if (flagStopM_Z == 1){
			flagStopM_Z = 0;
			motors[2].stopFlag = 0;
		} else {
			velMotor_Z = 0;
			flagStopM_Z = 1;
			motors[2].stopFlag = 1;
		}
		HAL_GPIO_TogglePin(azul_GPIO_Port, azul_Pin);
	}
  HAL_GPIO_EXTI_IRQHandler(StopM_X_Pin);  // Limpiar la bandera de interrupción EXTI3
  HAL_GPIO_EXTI_IRQHandler(StopM_Y_Pin);  // Limpiar la bandera de interrupción EXTI3
  HAL_GPIO_EXTI_IRQHandler(StopM_Z_Pin);  // Limpiar la bandera de interrupción EXTI3
  HAL_GPIO_EXTI_IRQHandler(STOP_btn_Pin);  // Limpiar la bandera de interrupción EXTI3
}

//	Función para mover el servo
void Servo_Write_angle(uint16_t theta){
	uint16_t pwm_servo;
	pwm_servo = (uint16_t)((theta-0)*(PULSE_MAX-PULSE_MIN)/(180-0)+PULSE_MIN);
	__HAL_TIM_SetCompare(&htim4, TIM_CHANNEL_4, pwm_servo);
}

// FUNCIÓN PARA DIVIDIR Y COPIAR CADENAS (formatear)
void CDC_FS_Substring(uint8_t inicioCadena, uint8_t finCadena, char* cadenaOriginal, char* cadenaCortada) {
	uint8_t pt = 0; // Inicializa un contador para la posición en la cadena de destino
	// Itera a través del rango de caracteres desde inicioCadena hasta finCadena
	for (uint16_t lt = inicioCadena; lt < finCadena; lt++) {
		cadenaCortada[pt] = cadenaOriginal[lt]; // Copia el carácter de la cadena de origen a la cadena de destino
		pt++; // Incrementa el contador de posición en la cadena de destino
	}
	cadenaCortada[pt] = '\0'; // Agrega un carácter nulo al final de la cadena de destino para marcar el final
	pt = 0; // Restablece el contador de posición en la cadena de destino para su reutilización
}

void HAL_TIM_PeriodElapsedCallback(TIM_HandleTypeDef *htim) {
    if (htim->Instance == TIM2) {
		for (int i = 0; i < NUM_MOTORS; i++) {
			StepperMotor *motor = &motors[i];
			motor->stepCounter++;
			if ((motor->newPosition != motor->currentPosition) || (countHome >= 0)){
				if ((motor->stepCounter >= motor->stepInterval)&&(motor->stepInterval != 0)) {
					motor->stepCounter = 0;
					if (motor->stopFlag == 0) {
						if (motor->direction == 0) {
							motor->currentPosition += 1;
							HAL_GPIO_WritePin(motor->dirPort, motor->dirPin, SET);
						} else {
							motor->currentPosition -= 1;
							HAL_GPIO_WritePin(motor->dirPort, motor->dirPin, RESET);
						}
						HAL_GPIO_WritePin(motor->stepPort, motor->stepPin, SET);
					}
					HAL_GPIO_WritePin(motor->stepPort, motor->stepPin, RESET);
				}
			}
		}

	}
	if (htim->Instance == TIM3){
		//		TIMER para contar segundos
		contSeconds++;
	}
}

/* USER CODE END 4 */

void Error_Handler(void)
{
  __disable_irq();
  while (1)
  {
  }
}

#ifdef  USE_FULL_ASSERT
/**
  * @brief  Reports the name of the source file and the source line number
  *         where the assert_param error has occurred.
  * @param  file: pointer to the source file name
  * @param  line: assert_param error line source number
  * @retval None
  */
void assert_failed(uint8_t *file, uint32_t line)
{
  /* USER CODE BEGIN 6 */
  USBD_CDC_SetRxBuffer(&hUsbDeviceFS, &Buf[0]);
  USBD_CDC_ReceivePacket(&hUsbDeviceFS);
  return (USBD_OK);
  /* USER CODE END 6 */
}
#endif /* USE_FULL_ASSERT */
